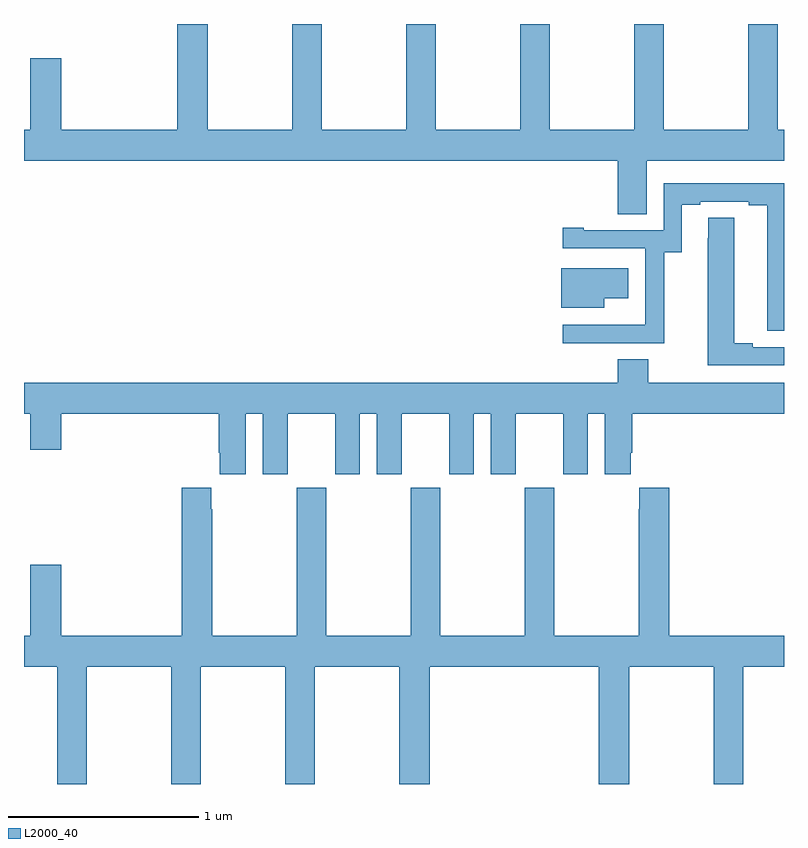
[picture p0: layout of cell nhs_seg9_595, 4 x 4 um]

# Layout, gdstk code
import gdstk
lib = gdstk.Library(unit=1e-6, precision=1e-09)
def P(c, l, *ps):  # polygons
    for p in ps: c.add(gdstk.Polygon(p, *l))
L2000_40 = (2000, 40)

nhs_seg9_595 = lib.new_cell('nhs_seg9_595')
P(nhs_seg9_595, L2000_40, [(143.011,1169.944),(142.566,1169.944),(142.566,1170.5),(142.411,1170.5),(142.411,1169.944),(141.966,1169.944),(141.966,1170.5),(141.806,1170.5),(141.806,1169.944),(141.196,1169.944),(141.196,1170.319),(141.032,1170.319),(141.032,1169.944),(141,1169.944),(141,1169.78),(144.125,1169.78),(144.125,1169.5),(144.277,1169.5),(144.277,1169.78),(145,1169.78),(145,1169.944),(144.966,1169.944),(144.966,1170.5),(144.811,1170.5),(144.811,1169.944),(144.366,1169.944),(144.366,1170.5),(144.211,1170.5),(144.211,1169.944),(143.766,1169.944),(143.766,1170.5),(143.611,1170.5),(143.611,1169.944),(143.166,1169.944),(143.166,1170.5),(143.011,1170.5)],
  [(144.369,1169.299),(144.463,1169.299),(144.463,1169.55),(144.559,1169.55),(144.559,1169.565),(144.815,1169.565),(144.815,1169.545),(144.911,1169.545),(144.911,1168.885),(145,1168.885),(145,1169.661),(144.366,1169.661),(144.366,1169.415),(143.947,1169.415),(143.947,1169.428),(143.835,1169.428),(143.835,1169.319),(144.27,1169.319),(144.27,1168.918),(144.269,1168.918),(144.269,1168.917),(143.835,1168.917),(143.835,1168.821),(144.369,1168.821)],
  [(145,1168.8),(144.835,1168.8),(144.835,1168.82),(144.739,1168.82),(144.739,1169.48),(144.6,1169.48),(144.6,1169.372),(144.599,1169.372),(144.599,1168.704),(145,1168.704)],
  [(144.055,1169.057),(144.181,1169.057),(144.181,1169.215),(143.828,1169.215),(143.828,1169.006),(144.055,1169.006)],
  [(142.168,1168.448),(142.256,1168.448),(142.256,1168.131),(142.387,1168.131),(142.387,1168.448),(142.637,1168.448),(142.637,1168.131),(142.768,1168.131),(142.768,1168.448),(142.856,1168.448),(142.856,1168.131),(142.987,1168.131),(142.987,1168.448),(143.237,1168.448),(143.237,1168.131),(143.368,1168.131),(143.368,1168.448),(143.456,1168.448),(143.456,1168.131),(143.587,1168.131),(143.587,1168.448),(143.837,1168.448),(143.837,1168.131),(143.968,1168.131),(143.968,1168.448),(144.056,1168.448),(144.056,1168.131),(144.193,1168.131),(144.193,1168.243),(144.2,1168.243),(144.2,1168.448),(145,1168.448),(145,1168.612),(144.285,1168.612),(144.285,1168.736),(144.125,1168.736),(144.125,1168.612),(141,1168.612),(141,1168.448),(141.032,1168.448),(141.032,1168.26),(141.196,1168.26),(141.196,1168.448),(142.025,1168.448),(142.025,1168.243),(142.031,1168.243),(142.031,1168.131),(142.168,1168.131)],
  [(144.395,1168.06),(144.239,1168.06),(144.239,1167.947),(144.235,1167.947),(144.235,1167.28),(143.79,1167.28),(143.79,1168.06),(143.635,1168.06),(143.635,1167.28),(143.19,1167.28),(143.19,1168.06),(143.035,1168.06),(143.035,1167.28),(142.59,1167.28),(142.59,1168.06),(142.435,1168.06),(142.435,1167.28),(141.99,1167.28),(141.99,1167.947),(141.985,1167.947),(141.985,1168.06),(141.83,1168.06),(141.83,1167.28),(141.196,1167.28),(141.196,1167.655),(141.032,1167.655),(141.032,1167.28),(141,1167.28),(141,1167.116),(141.175,1167.116),(141.175,1166.5),(141.33,1166.5),(141.33,1167.116),(141.775,1167.116),(141.775,1166.5),(141.93,1166.5),(141.93,1167.116),(142.375,1167.116),(142.375,1166.5),(142.53,1166.5),(142.53,1167.116),(142.975,1167.116),(142.975,1166.5),(143.135,1166.5),(143.135,1167.116),(144.026,1167.116),(144.026,1166.5),(144.186,1166.5),(144.186,1167.116),(144.631,1167.116),(144.631,1166.5),(144.786,1166.5),(144.786,1167.116),(145,1167.116),(145,1167.28),(144.395,1167.28)])

lib.write_gds('nhs_seg9_595.gds')
